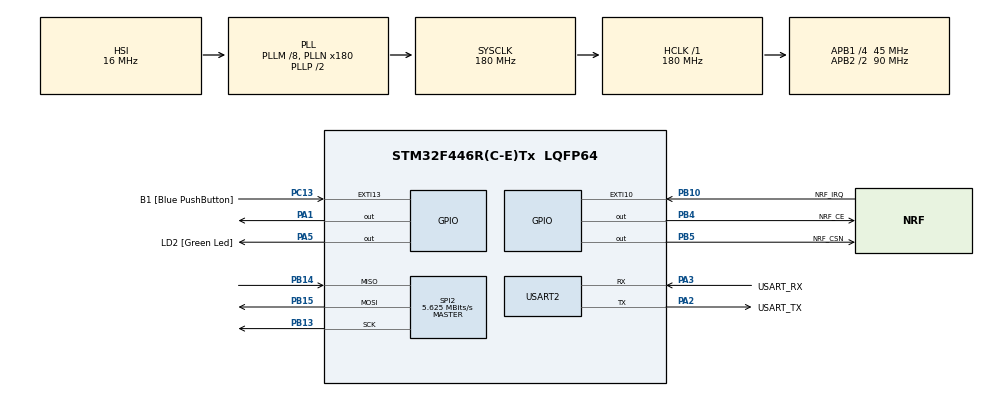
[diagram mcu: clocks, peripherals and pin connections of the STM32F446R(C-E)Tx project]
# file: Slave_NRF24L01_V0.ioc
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Mcu.Family=STM32F4
Mcu.Name=STM32F446R(C-E)Tx
Mcu.Package=LQFP64
NVIC.EXTI15_10_IRQn=true\:0\:0\:false\:false\:true\:true\:true\:true
NVIC.PriorityGroup=NVIC_PRIORITYGROUP_0
PA1.Signal=GPIO_Output
PA13.GPIO_Label=TMS
PA13.Mode=Serial_Wire
PA13.Signal=SYS_JTMS-SWDIO
PA14.GPIO_Label=TCK
PA14.Mode=Serial_Wire
PA14.Signal=SYS_JTCK-SWCLK
PA2.GPIO_Label=USART_TX
PA2.Mode=Asynchronous
PA2.Signal=USART2_TX
PA3.GPIO_Label=USART_RX
PA3.Mode=Asynchronous
PA3.Signal=USART2_RX
PA5.GPIO_Label=LD2 [Green Led]
PA5.Signal=GPIO_Output
PB10.GPIO_Label=NRF_IRQ
PB10.Signal=GPXTI10
PB13.Mode=Full_Duplex_Master
PB13.Signal=SPI2_SCK
PB14.Mode=Full_Duplex_Master
PB14.Signal=SPI2_MISO
PB15.Mode=Full_Duplex_Master
PB15.Signal=SPI2_MOSI
PB3.GPIO_Label=SWO
PB3.Signal=SYS_JTDO-SWO
PB4.GPIO_Label=NRF_CE
PB4.Signal=GPIO_Output
PB5.GPIO_Label=NRF_CSN
PB5.Signal=GPIO_Output
PC13.GPIO_Label=B1 [Blue PushButton]
PC13.GPIO_ModeDefaultEXTI=GPIO_MODE_IT_FALLING
PC13.Signal=GPXTI13
PC14-OSC32_IN.Mode=LSE-External-Oscillator
PC14-OSC32_IN.Signal=RCC_OSC32_IN
PC15-OSC32_OUT.Mode=LSE-External-Oscillator
PC15-OSC32_OUT.Signal=RCC_OSC32_OUT
PH0-OSC_IN.Mode=HSE-External-Oscillator
PH0-OSC_IN.Signal=RCC_OSC_IN
PH1-OSC_OUT.Mode=HSE-External-Oscillator
PH1-OSC_OUT.Signal=RCC_OSC_OUT
ProjectManager.HeapSize=0x200
ProjectManager.StackSize=0x400
ProjectManager.TargetToolchain=STM32CubeIDE
RCC.48MHZClocksFreq_Value=84000000
RCC.AHBFreq_Value=180000000
RCC.APB1CLKDivider=RCC_HCLK_DIV4
RCC.APB1Freq_Value=45000000
RCC.APB1TimFreq_Value=90000000
RCC.APB2CLKDivider=RCC_HCLK_DIV2
RCC.APB2Freq_Value=90000000
RCC.APB2TimFreq_Value=180000000
RCC.CortexFreq_Value=180000000
RCC.FLatency-AdvancedSettings=FLASH_LATENCY_5
RCC.HCLKFreq_Value=180000000
RCC.HSE_VALUE=8000000
RCC.HSI_VALUE=16000000
RCC.PLLM=8
RCC.PLLN=180
RCC.SYSCLKFreq_VALUE=180000000
RCC.SYSCLKSource=RCC_SYSCLKSOURCE_PLLCLK
RCC.USBFreq_Value=180000000
RCC.VCOOutputFreq_Value=360000000
SPI2.BaudRatePrescaler=SPI_BAUDRATEPRESCALER_8
SPI2.CalculateBaudRate=5.625 MBits/s
SPI2.Direction=SPI_DIRECTION_2LINES
SPI2.Mode=SPI_MODE_MASTER
SPI2.VirtualType=VM_MASTER
TIM6.Period=0xffff-1
TIM6.Prescaler=90
USART2.VirtualMode=VM_ASYNC
VP_TIM6_VS_ClockSourceINT.Mode=Enable_Timer
board=NUCLEO-F446RE

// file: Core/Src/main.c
/* USER CODE BEGIN Header */
/**
 ******************************************************************************
 * @file           : main.c
 * @brief          : Main program body
 ******************************************************************************
 * @attention
 *
 * Copyright (c) 2024 STMicroelectronics.
 * All rights reserved.
 *
 * This software is licensed under terms that can be found in the LICENSE file
 * in the root directory of this software component.
 * If no LICENSE file comes with this software, it is provided AS-IS.
 *
 ******************************************************************************
 */
/* USER CODE END Header */
#include "main.h"
#include "spi.h"
#include "tim.h"
#include "usart.h"
#include "gpio.h"

/* USER CODE BEGIN Includes */

#include "MY_NRF24.h"
#include "stdio.h"
#include <string.h>

/* USER CODE END Includes */

void SystemClock_Config(void);

/* USER CODE BEGIN 0 */

// Define the transmission pipe address
uint64_t TxpipeAddrs = 0x112233447A;

// Define the receiving pipe address
uint64_t RxpipeAddrs = 0x11223344AA;

// Define an array to store transmission data with an initial value "SEND"
char myTxData[32] = "Hello World !!";

// Define an array to store acknowledgment payload
char AckPayload[32];

// Define an array to store received data
char myRxData[32];

// Define an acknowledgment payload with an initial value "Ack by Master !!"
char myAckPayload[32] = "Ack by Node 1";

int count = 0;

// Function to configure NRF24 module for transmit mode without acknowledgment
void Tx_Mode(void) {
	// Print information about entering transmit mode without acknowledgment
	//printf("________________________Tx Mode________________________ \n\r");

	// Stop listening for incoming data
	NRF24_stopListening();

	// Set writing pipe address to TxpipeAddrs
	NRF24_openWritingPipe(TxpipeAddrs);

	// Enable auto acknowledgment
	NRF24_setAutoAck(true);

	// Set channel to 52
	NRF24_setChannel(52);

	// Set payload size to 32 bytes
	NRF24_setPayloadSize(32);

	// Enable dynamic payloads
	NRF24_enableDynamicPayloads();

	// Enable acknowledgment payloads
	NRF24_enableAckPayload();

	HAL_GPIO_WritePin(GPIOA, GPIO_PIN_5, RESET);
}

/*
 * Function: Send_Data
 * Description: Sends data using NRF24 module and waits for acknowledgment from Node 1.
 * Parameters: None
 * Returns: bool - Indicates whether data was sent successfully or not
 */
bool Send_Data(void) {
	// Variable to track the status of data transmission
	bool send_stat = false;

	// Attempt to write data to NRF24 module
	if (NRF24_write(myTxData, 32)) {
		// If data is successfully written, read acknowledgment payload
		NRF24_read(AckPayload, 32);
		printf("%s \r\n", AckPayload);
		send_stat = true;
//		// Check if acknowledgment payload matches the expected acknowledgment
//		if (strcmp(AckPayload, AckPayload) == 0) {
//			// If acknowledgment matches, data request was completed successfully
//			printf("%s \r\n", AckPayload);
//			printf("The data Transmission was completed successfully\r\n");
//			send_stat = true;
//		} else {
//			// If acknowledgment doesn't match, indicate failure
//			printf("No AckPayload from Master\r\n");
//			send_stat = false;
//		}
	}

	// Delay before returning to avoid immediate retries
	HAL_Delay(50);

	// Return the status of data transmission
	return send_stat;
}

// Function to configure NRF24 module for receiving mode without acknowledgment
void Rx_Mode(void) {
	// Print information about changing settings to receiver mode with acknowledgment
	//printf("________________________Rx Mode________________________ \n\r");

	// Enable auto acknowledgment
	NRF24_setAutoAck(true);

	// Set channel to 52
	NRF24_setChannel(52);

	// Set payload size to 32 bytes
	NRF24_setPayloadSize(32);

	// Open reading pipe with address RxpipeAddrs
	NRF24_openReadingPipe(1, RxpipeAddrs);

	// Enable dynamic payloads
	NRF24_enableDynamicPayloads();

	// Enable acknowledgment payloads
	NRF24_enableAckPayload();

	// Start listening for incoming data
	NRF24_startListening();

	HAL_GPIO_WritePin(GPIOA, GPIO_PIN_5, SET);
}

/*
 * Function: Receive_Data
 * Description: Receives data from Node 1 using NRF24 module.
 * Parameters: None
 * Returns: bool - Indicates whether data was received successfully or not
 */
bool Receive_Data(void) {
	// Variable to track the status of data reception
	bool receive_stat = false;

	// Check if there is data available to read
	if (NRF24_available()) {
		// Read data from NRF24 module
		NRF24_read(myRxData, 32);

		// Send acknowledgment payload to Node 1
		NRF24_writeAckPayload(1, myAckPayload, 32);

		// Print the received data
		count++;
		printf("%s : %d \r\n", myRxData, count);

		// Set receive_stat to true to indicate successful data reception
		receive_stat = true;
	}

	// Delay for 10 milliseconds before returning to avoid immediate retries
	HAL_Delay(10);

	// Return the status of data reception
	return receive_stat;
}

/* USER CODE END 0 */

int main(void) {

	/* MCU Configuration--------------------------------------------------------*/

	/* Reset of all peripherals, Initializes the Flash interface and the Systick. */
	HAL_Init();

	/* Configure the system clock */
	SystemClock_Config();

	/* Initialize all configured peripherals */
	MX_GPIO_Init();
	MX_USART2_UART_Init();
	MX_SPI2_Init();
	MX_TIM6_Init();
	/* USER CODE BEGIN 2 */
	/*
	 * Description: This block of code initializes the NRF24 module, enters receive mode,
	 *              and prints current radio settings.
	 */

	// Initialize NRF24 module
	NRF24_Init();

	// Print information about entering receive mode with acknowledgment
	printf("//**** RECEIVE - ACK ****//   \n\r");
	printf(
			"________________________After change Setting________________________ \n\r");

	// Switch NRF24 module to receive mode
	Rx_Mode();

	// Print current radio settings
	printRadioSettings();

	/* USER CODE END 2 */

	/* Infinite loop */
	/* USER CODE BEGIN WHILE */
	while (1) {
		/*
		 * Description: This block of code manages the data reception and transmission process.
		 *              It checks if data is received using the Receive_Data function.
		 *              If data is received successfully, it switches to transmit mode,
		 *              sends the acknowledgment, and switches back to receive mode.
		 *              If no data is received, it prints a message indicating no request from the master.
		 */

		// Check if data is received successfully
		if (Receive_Data()) {
			// Switch NRF24 module to transmit mode

			Tx_Mode();

			// Print a message indicating that transmit mode is activated
//			printf("Tx Mode is Activated\r\n");

			// Loop indefinitely until acknowledgment is sent or a timeout occurs
			int coun = 0;
			while (coun < 5) {
//				printf("wite ....\n");
				// Check if acknowledgment is sent successfully
				if (Send_Data()) {
					// Switch NRF24 module back to receive mode
					Rx_Mode();

					// Print a message indicating that receive mode is activated
//								printf("Rx Mode is Activated\r\n");

					// Delay for 500 milliseconds before breaking out of the loop
					HAL_Delay(400);

					// Exit the loop
					break;

				} else if (coun == 5) {
					// Switch NRF24 module back to receive mode
					Rx_Mode();
				}

				// If acknowledgment transmission fails, wait for a short period before retrying
				HAL_Delay(50);

				coun++;

			}

			Rx_Mode();

		} else {

			// If no data is received, print a message indicating no request from the master
			//printf("There is no request from the Master\r\n");

			// Delay for 50 milliseconds before continuing
			HAL_Delay(50);
		}

		/* USER CODE END WHILE */

	}
}

void SystemClock_Config(void) {
	RCC_OscInitTypeDef RCC_OscInitStruct = { 0 };
	RCC_ClkInitTypeDef RCC_ClkInitStruct = { 0 };

	/** Configure the main internal regulator output voltage
	 */
	__HAL_RCC_PWR_CLK_ENABLE();
	__HAL_PWR_VOLTAGESCALING_CONFIG(PWR_REGULATOR_VOLTAGE_SCALE1);

	/** Initializes the RCC Oscillators according to the specified parameters
	 * in the RCC_OscInitTypeDef structure.
	 */
	RCC_OscInitStruct.OscillatorType = RCC_OSCILLATORTYPE_HSI;
	RCC_OscInitStruct.HSIState = RCC_HSI_ON;
	RCC_OscInitStruct.HSICalibrationValue = RCC_HSICALIBRATION_DEFAULT;
	RCC_OscInitStruct.PLL.PLLState = RCC_PLL_ON;
	RCC_OscInitStruct.PLL.PLLSource = RCC_PLLSOURCE_HSI;
	RCC_OscInitStruct.PLL.PLLM = 8;
	RCC_OscInitStruct.PLL.PLLN = 180;
	RCC_OscInitStruct.PLL.PLLP = RCC_PLLP_DIV2;
	RCC_OscInitStruct.PLL.PLLQ = 2;
	RCC_OscInitStruct.PLL.PLLR = 2;
	if (HAL_RCC_OscConfig(&RCC_OscInitStruct) != HAL_OK) {
		Error_Handler();
	}

	/** Activate the Over-Drive mode
	 */
	if (HAL_PWREx_EnableOverDrive() != HAL_OK) {
		Error_Handler();
	}

	/** Initializes the CPU, AHB and APB buses clocks
	 */
	RCC_ClkInitStruct.ClockType = RCC_CLOCKTYPE_HCLK | RCC_CLOCKTYPE_SYSCLK
			| RCC_CLOCKTYPE_PCLK1 | RCC_CLOCKTYPE_PCLK2;
	RCC_ClkInitStruct.SYSCLKSource = RCC_SYSCLKSOURCE_PLLCLK;
	RCC_ClkInitStruct.AHBCLKDivider = RCC_SYSCLK_DIV1;
	RCC_ClkInitStruct.APB1CLKDivider = RCC_HCLK_DIV4;
	RCC_ClkInitStruct.APB2CLKDivider = RCC_HCLK_DIV2;

	if (HAL_RCC_ClockConfig(&RCC_ClkInitStruct, FLASH_LATENCY_5) != HAL_OK) {
		Error_Handler();
	}
}

void Error_Handler(void) {
	__disable_irq();
	while (1) {
	}
}
